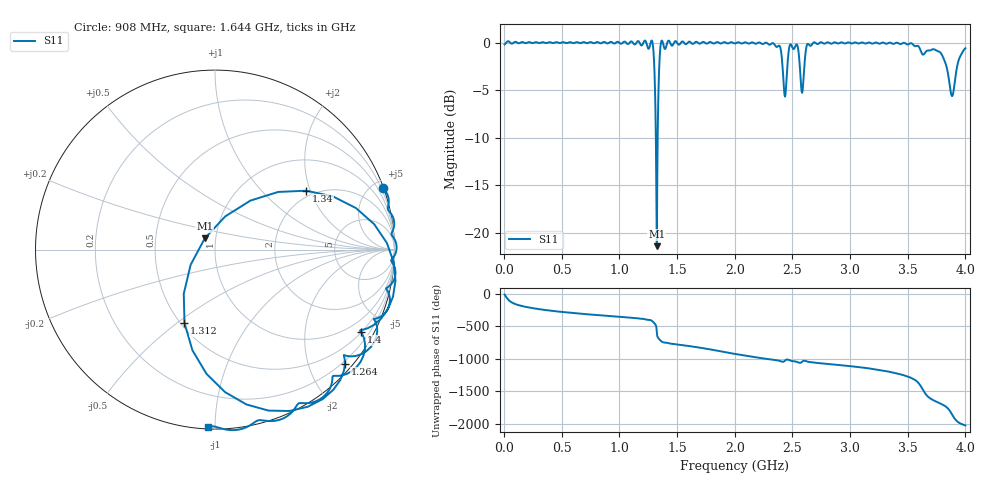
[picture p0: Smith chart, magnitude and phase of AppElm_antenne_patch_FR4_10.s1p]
! TOUCHSTONE file generated by CST MICROWAVE STUDIO
! Date and time: Tue Jun  7 20:03:49 2022
! Project name: AppElm_antenne_patch_FR4.cst
! Parameters = {L=54; W=58.5; e=0.035; h=1.6; lambda=0.190476; ls=120; w0=1.6; w1=0.533333; ws=120; y0=20; y1=23.8095}
! Header version: 2018
! Port assignment regex: !\s*Touchstone port\s*([0-9]+)\s*=\s*(CST MWS port|CST DS port)\s*([0-9]+|Zmin|Zmax)\s*\(\"(.*)\"\)(\s*mode\s*([0-9]+))?.*
! Touchstone port assignment:
! Touchstone port 1 = CST MWS port 1 ("")
# GHz S MA R 50
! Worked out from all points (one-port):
!   1000 points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, 4 MHz to 4 GHz, reference 50 ohm
!   lowest |S11| = -21.4 dB at 1.324 GHz (marker M1), VSWR 1.19, Z = 44.3 + j5.62 ohm
!   |S11| at or under -10 dB: 1.315 GHz to 1.332 GHz (16.05 MHz wide, 1.21 % of centre)
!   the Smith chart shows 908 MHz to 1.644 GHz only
!   S11 on the Smith chart (normalised r, x): 908 MHz: 0.05, +5.64; 1.264 GHz: 0.15, -2.64; 1.312 GHz: 0.52, -0.53; 1.34 GHz: 1.82, +1.88; 1.4 GHz: 0.53, -3.74; 1.644 GHz: 0.01, -0.96
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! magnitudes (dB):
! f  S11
! 4 MHz  -0.2
! 504 MHz  0.0
! 908 MHz  0.0
! 1.004 GHz  -0.1
! 1.264 GHz  -0.3
! 1.292 GHz  -0.5
! 1.312 GHz  -7.1
! 1.324 GHz  -21.4
! 1.34 GHz  -4.4
! 1.352 GHz  -0.9
! 1.36 GHz  0.0
! 1.4 GHz  -0.6
! 1.504 GHz  -0.1
! 1.644 GHz  -0.1
! 2.004 GHz  -0.1
! 2.38 GHz  -0.3
! 2.436 GHz  -5.7
! 2.476 GHz  -0.3
! 2.504 GHz  -0.6
! 2.54 GHz  -0.2
! 2.584 GHz  -5.3
! 2.64 GHz  -0.2
! 3.004 GHz  -0.1
! 3.504 GHz  -0.2
! 3.784 GHz  -1.1
! 3.884 GHz  -5.6
! 3.944 GHz  -1.8
! 4 GHz  -0.6
